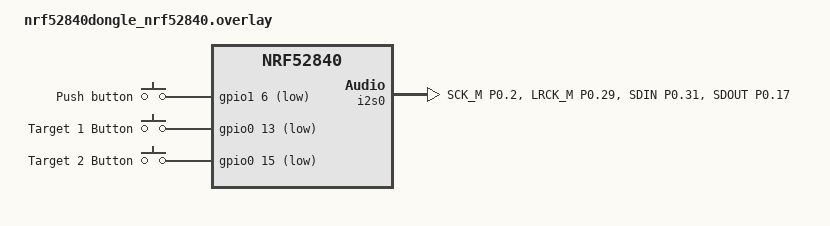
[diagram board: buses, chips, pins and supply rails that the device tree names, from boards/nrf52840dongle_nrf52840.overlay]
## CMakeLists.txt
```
cmake_minimum_required(VERSION 3.20.0)
find_package(Zephyr REQUIRED HINTS $ENV{ZEPHYR_BASE})
project(esb_voice_node)

# Add all folders containing .h headers to include path
target_include_directories(app PRIVATE
    src
    src/transport
    src/audio
    src/codec
    src/ringbuffer
    src/app
    src/network
)

# List all source files
target_sources(app PRIVATE
    src/main.c
    src/transport/transport.c
    src/audio/audio.c
    src/codec/codec.c
    src/ringbuffer/ringbuffer.c
    src/app/appstate.c
    src/network/network.c
)
```

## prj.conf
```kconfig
CONFIG_I2S=y
CONFIG_PINCTRL=y
CONFIG_LOG=y
CONFIG_PRINTK=y
CONFIG_CONSOLE=y
CONFIG_SERIAL=y

CONFIG_ESB=y
CONFIG_ESB_MAX_PAYLOAD_LENGTH=252
CONFIG_ESB_TX_FIFO_SIZE=16

CONFIG_GPIO=y
CONFIG_MAIN_STACK_SIZE=2048
CONFIG_SYSTEM_WORKQUEUE_STACK_SIZE=2048
```

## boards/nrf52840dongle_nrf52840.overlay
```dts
&pinctrl {
	i2s0_default: i2s0_default {
		group1 {
			psels = <NRF_PSEL(I2S_SCK_M, 0, 2)>,
				<NRF_PSEL(I2S_LRCK_M, 0, 29)>,
				<NRF_PSEL(I2S_SDIN,0,31)>,
				<NRF_PSEL(I2S_SDOUT,0,17)>;
		};
	};
};


&i2s0{
	status = "okay";
	pinctrl-0 = <&i2s0_default>;
	pinctrl-names = "default";
	};

//Below are disabled since 2 of those pins are configured for i2s
&uart0 {
	status="disabled";
};

&spi1{
	status="disabled";
};

//display
// &pinctrl {
//     i2c1_default: i2c1_default {
//         group1 {
//             psels = <NRF_PSEL(TWIM_SDA, 0, 22)>,
//                     <NRF_PSEL(TWIM_SCL, 0, 24)>;
//         };
//     };

//     i2c1_sleep: i2c1_sleep {
//         group1 {
//             psels = <NRF_PSEL(TWIM_SDA, 0, 22)>,
//                     <NRF_PSEL(TWIM_SCL, 0, 24)>;
//             low-power-enable;
//         };
//     };
// };

// &i2c1 {
//     status = "okay";
//     compatible = "nordic,nrf-twim";
//     pinctrl-0 = <&i2c1_default>;
//     pinctrl-1 = <&i2c1_sleep>;
//     pinctrl-names = "default", "sleep";

//     zephyr,concat-buf-size = <1040>;   /* >= 1 (control byte) + 1024 (128x64/8) */

//     ssd1306: ssd1306@3c {
//         compatible = "solomon,ssd1306";
//         reg = <0x3c>;
//         width = <128>;
//         height = <64>;
//         segment-offset = <0>;
//         page-offset = <0>;
//         display-offset = <0>;
//         multiplex-ratio = <63>;
//         segment-remap;
//         com-invdir;
//         prechargep = <0x22>;
//     };
// };


/ {
    buttons {
        compatible = "gpio-keys";

        button0: button_0 {
            gpios = <&gpio1 6 (GPIO_PULL_UP | GPIO_ACTIVE_LOW)>;
            label = "Push button";
        };
    };

    aliases {
        sw0 = &button0;
    };
};


/ {
    buttons {
        compatible = "gpio-keys";
        ext_button_1: button_1 {
            gpios = <&gpio0 13 (GPIO_PULL_UP | GPIO_ACTIVE_LOW)>;
            label = "Target 1 Button";
        };
        ext_button_2: button_2 {
            gpios = <&gpio0 15 (GPIO_PULL_UP | GPIO_ACTIVE_LOW)>;
            label = "Target 2 Button";
        };
    };

    aliases {
        sw1 = &ext_button_1;
        sw2 = &ext_button_2;
    };
};
```

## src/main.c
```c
#include <zephyr/kernel.h>
#include <zephyr/drivers/gpio.h>
#include <zephyr/sys/printk.h>
#//include <zephyr/random/random.h>
#include <string.h>

#include "audio.h"
#include "codec.h"
#include "transport.h"
#include "ringbuffer.h"
#include "appstate.h"
#include "network.h"

/* ---------------- Node Configuration ---------------- */
/* Change MY_NODE_ID for each device: 1 (A), 2 (B), or 3 (C) */
#define MY_NODE_ID 3

#if MY_NODE_ID == 1
  #define TARGET_1_ID  2   /* Node B (1 hop away) */
  #define TARGET_1_TTL 1   /* Direct: No relaying needed */
  #define TARGET_2_ID  3   /* Node C (2 hops away) */
  #define TARGET_2_TTL 2   /* Multi-hop: Node B will relay */
#elif MY_NODE_ID == 2
  #define TARGET_1_ID  1   /* Node A (1 hop away) */
  #define TARGET_1_TTL 1
  #define TARGET_2_ID  3   /* Node C (1 hop away) */
  #define TARGET_2_TTL 1
#elif MY_NODE_ID == 3
  #define TARGET_1_ID  1   /* Node A (2 hops away) */
  #define TARGET_1_TTL 2   /* Multi-hop: Node B will relay */
  #define TARGET_2_ID  2   /* Node B (1 hop away) */
  #define TARGET_2_TTL 1
#endif

/*
 * BENCHTOP DISTANCE FILTER:
 * Prevents Node 1 and Node 3 from hearing each other directly on a desk.
 * Forces Node 1 <-> Node 3 packets to travel through Relay Node 2.
 */
#define SIMULATE_BENCH_DISTANCE 1

/* Button Devicetree Mappings */
#define BTN_BCAST_NODE DT_ALIAS(sw0)  /* Built-in Button (P1.06) */
#define BTN_TGT1_NODE  DT_ALIAS(sw1)  /* Ext Button 1 (P0.17)    */
#define BTN_TGT2_NODE  DT_ALIAS(sw2)  /* Ext Button 2 (P0.20)    */

static const struct gpio_dt_spec btn_bcast = GPIO_DT_SPEC_GET(BTN_BCAST_NODE, gpios);
static const struct gpio_dt_spec btn_tgt1  = GPIO_DT_SPEC_GET_OR(BTN_TGT1_NODE, gpios, {0});
static const struct gpio_dt_spec btn_tgt2  = GPIO_DT_SPEC_GET_OR(BTN_TGT2_NODE, gpios, {0});

/* Relay LED (LD1: P0.06) */
#define RELAY_LED_NODE DT_ALIAS(led0)
static const struct gpio_dt_spec relay_led = GPIO_DT_SPEC_GET_OR(RELAY_LED_NODE, gpios, {0});

#define BUTTON_POLL_MS 20

static volatile uint8_t active_dest_id = BROADCAST_NODE_ID;
static volatile uint8_t active_tx_ttl  = 1;
static uint16_t seq_counter = 0;

K_MSGQ_DEFINE(relay_msgq, sizeof(struct net_packet), 8, 4);

/* ---------------- Network RX Routing Callback ---------------- */
static void on_network_rx(const struct net_packet *pkt)
{
        /* 1. Never process our own transmitted packets */
        if (pkt->hdr.src_id == MY_NODE_ID) {
                return;
        }

#if SIMULATE_BENCH_DISTANCE
        /* Artificial distance: Drop direct Node 1 <-> Node 3 link */
        if (MY_NODE_ID == 1 && pkt->hdr.last_hop_id == 3) return;
        if (MY_NODE_ID == 3 && pkt->hdr.last_hop_id == 1) return;
#endif

        /* 2. Deduplication: Prevents double audio playback and infinite loops */
        if (network_is_duplicate(pkt->hdr.src_id, pkt->hdr.seq)) {
                return;
        }

        bool is_for_me = (pkt->hdr.dest_id == MY_NODE_ID);
        bool is_bcast  = (pkt->hdr.dest_id == BROADCAST_NODE_ID);

        /* 3. Audio Playback: Play ONLY if targeted to this node or broadcast */
        if (is_for_me || is_bcast) {
                appstate_verify_seq((uint8_t)pkt->hdr.seq);

                int before = ring_available();
                for (size_t i = 0; i < NET_AUDIO_PAYLOAD_SIZE; i++) {
                        ring_push(pkt->audio[i]);
                }
                int after = ring_available();
                int pushed = after - before;

                if (pushed < (int)NET_AUDIO_PAYLOAD_SIZE) {
                        appstate_add_ring_drops(NET_AUDIO_PAYLOAD_SIZE - pushed);
                }
        }

        /* 4. Relay Forwarding:
         * Never relay if:
         * - Packet was addressed to this node (journey is complete)
         * - No hops remaining (ttl <= 1)
         * - This node is currently transmitting
         */
        if (!is_for_me && pkt->hdr.ttl > 1 && appstate_get() == DEV_STATE_LISTEN) {
                struct net_packet fwd = *pkt;
                fwd.hdr.ttl--;
                fwd.hdr.last_hop_id = MY_NODE_ID;
                k_msgq_put(&relay_msgq, &fwd, K_NO_WAIT);
        }
}

/* ---------------- Relay Worker Thread ---------------- */
static void relay_thread_fn(void *p1, void *p2, void *p3)
{
        ARG_UNUSED(p1); ARG_UNUSED(p2); ARG_UNUSED(p3);

        appstate_wait_threads_ready();
        printk("Relay worker active on Node %d\n", MY_NODE_ID);

        struct net_packet fwd_pkt;

        while (1) {
                if (k_msgq_get(&relay_msgq, &fwd_pkt, K_FOREVER) == 0) {
                        if (appstate_get() != DEV_STATE_LISTEN) {
                                continue;
                        }

                       /* Hardware cycle counter jitter (500us to 2500us) */
						uint32_t jitter_us = 500 + (k_cycle_get_32() % 2000);
						k_busy_wait(jitter_us);

                        if (appstate_get() != DEV_STATE_LISTEN) {
                                continue;
                        }

                        transport_switch_mode(true);
                        transport_send_packet(&fwd_pkt);

                        while (!transport_is_tx_ready()) {
                                k_yield();
                        }

                        transport_switch_mode(false);

                        /* Toggle LED indicator on relay */
                        if (relay_led.port) {
                                gpio_pin_toggle_dt(&relay_led);
                        }
                }
        }
}

/* ---------------- Audio Capture / Local TX Thread ---------------- */
static void capture_thread_fn(void *p1, void *p2, void *p3)
{
        ARG_UNUSED(p1); ARG_UNUSED(p2); ARG_UNUSED(p3);

        appstate_wait_threads_ready();
        printk("Capture worker active\n");

        static int16_t shrunk[AUDIO_SAMPLES_PER_BLOCK];
        static const int chunks_per_block = AUDIO_SAMPLES_PER_BLOCK / (NET_AUDIO_PAYLOAD_SIZE / sizeof(int16_t));

        while (1) {
                void *read_buf;
                size_t read_size;

                int r = audio_read(&read_buf, &read_size);
                if (r) {
                        k_msleep(5);
                        continue;
                }

                if (appstate_get() != DEV_STATE_TALK) {
                        audio_free_rx(read_buf);
                        continue;
                }

                int32_t peak = 0;
                codec_process_mic_block((int32_t *)read_buf, shrunk, AUDIO_SAMPLES_PER_BLOCK, &peak);
                appstate_set_mic_peak(peak);
                audio_free_rx(read_buf);

                uint8_t *p = (uint8_t *)shrunk;
                for (int c = 0; c < chunks_per_block; c++) {
                        if (appstate_get() != DEV_STATE_TALK) {
                                break;
                        }

                        while (!transport_is_tx_ready() && appstate_get() == DEV_STATE_TALK) {
                                k_yield();
                        }
                        if (appstate_get() != DEV_STATE_TALK) {
                                break;
                        }

                        struct net_packet pkt;
                        pkt.hdr.src_id = MY_NODE_ID;
                        pkt.hdr.dest_id = active_dest_id;
                        pkt.hdr.last_hop_id = MY_NODE_ID;
                        pkt.hdr.ttl = active_tx_ttl;
                        pkt.hdr.seq = seq_counter++;
                        memcpy(pkt.audio, p + (c * NET_AUDIO_PAYLOAD_SIZE), NET_AUDIO_PAYLOAD_SIZE);

                        transport_send_packet(&pkt);
                }
        }
}

/* ---------------- Audio Playback / Local RX Thread ---------------- */
static void playback_thread_fn(void *p1, void *p2, void *p3)
{
        ARG_UNUSED(p1); ARG_UNUSED(p2); ARG_UNUSED(p3);

        appstate_wait_threads_ready();
        printk("Playback worker active\n");

        while (1) {
                void *buf;
                if (audio_alloc_tx(&buf) != 0) {
                        continue;
                }

                int32_t *out = (int32_t *)buf;

                if (appstate_get() == DEV_STATE_TALK) {
                        memset(buf, 0, AUDIO_BLOCK_SIZE);
                } else {
                        int avail = ring_available();
                        int needed = AUDIO_SAMPLES_PER_BLOCK * (int)sizeof(int16_t);

                        if (avail >= needed) {
                                for (int i = 0; i < AUDIO_SAMPLES_PER_BLOCK; i++) {
                                        int16_t sample;
                                        uint8_t *sb = (uint8_t *)&sample;
                                        ring_pop(&sb[0]);
                                        ring_pop(&sb[1]);
                                        out[i] = codec_expand_sample(sample);
                                }
                                appstate_inc_play_blocks();
                        } else {
                                memset(buf, 0, AUDIO_BLOCK_SIZE);
                        }
                }

                int w = audio_write(buf, AUDIO_BLOCK_SIZE);
                if (w) {
                        audio_free_tx(buf);
                }

                appstate_print_debug(ring_available());
        }
}

K_THREAD_DEFINE(capture_tid,  2048, capture_thread_fn,  NULL, NULL, NULL, 6, 0, 0);
K_THREAD_DEFINE(playback_tid, 2048, playback_thread_fn, NULL, NULL, NULL, 6, 0, 0);
K_THREAD_DEFINE(relay_tid,    2048, relay_thread_fn,    NULL, NULL, NULL, 5, 0, 0);

/* ---------------- Main Control Loop ---------------- */
int main(void)
{
        k_msleep(1000);
        printk("=== VOICE NODE %d READY ===\n", MY_NODE_ID);

        appstate_init();
        ring_init();
        network_init();

        if (audio_init()) return 0;

        /* Built-in button */
        if (!gpio_is_ready_dt(&btn_bcast)) return 0;
        gpio_pin_configure_dt(&btn_bcast, GPIO_INPUT);

        /* External Button 1 */
        if (btn_tgt1.port && gpio_is_ready_dt(&btn_tgt1)) {
                gpio_pin_configure_dt(&btn_tgt1, GPIO_INPUT);
        }

        /* External Button 2 */
        if (btn_tgt2.port && gpio_is_ready_dt(&btn_tgt2)) {
                gpio_pin_configure_dt(&btn_tgt2, GPIO_INPUT);
        }

        /* Relay Status LED */
        if (relay_led.port && gpio_is_ready_dt(&relay_led)) {
                gpio_pin_configure_dt(&relay_led, GPIO_OUTPUT_INACTIVE);
        }

        if (transport_init(on_network_rx)) return 0;

        audio_preload_silence();
        if (audio_start()) return 0;

        /* Wake up all 3 worker threads */
        appstate_signal_threads_ready();

        uint8_t last_target = 0;

        while (1) {
                bool bcast_pressed = gpio_pin_get_dt(&btn_bcast) > 0;
                bool tgt1_pressed  = (btn_tgt1.port) ? (gpio_pin_get_dt(&btn_tgt1) > 0) : false;
                bool tgt2_pressed  = (btn_tgt2.port) ? (gpio_pin_get_dt(&btn_tgt2) > 0) : false;

                uint8_t current_target = 0;
                uint8_t current_ttl = 1;

                if (bcast_pressed) {
                        current_target = BROADCAST_NODE_ID;
                        current_ttl = 2; /* Broadcast traverses multi-hop */
                } else if (tgt1_pressed) {
                        current_target = TARGET_1_ID;
                        current_ttl = TARGET_1_TTL;
                } else if (tgt2_pressed) {
                        current_target = TARGET_2_ID;
                        current_ttl = TARGET_2_TTL;
                }

                if (current_target != last_target) {
                        last_target = current_target;

                        if (current_target != 0) {
                                printk("TALK -> Target %d (TTL=%d)\n", current_target, current_ttl);
                                active_dest_id = current_target;
                                active_tx_ttl  = current_ttl;
                                if (transport_switch_mode(true) == 0) {
                                        seq_counter = 0;
                                        transport_reset_tx_ready();
                                        appstate_set(DEV_STATE_TALK);
                                }
                        } else {
                                printk("STOP -> Mode LISTEN\n");
                                appstate_set(DEV_STATE_LISTEN);
                                transport_switch_mode(false);
                                appstate_reset_seq_tracking();
                                ring_reset();
                        }
                }

                k_msleep(BUTTON_POLL_MS);
        }

        return 0;
}
```
